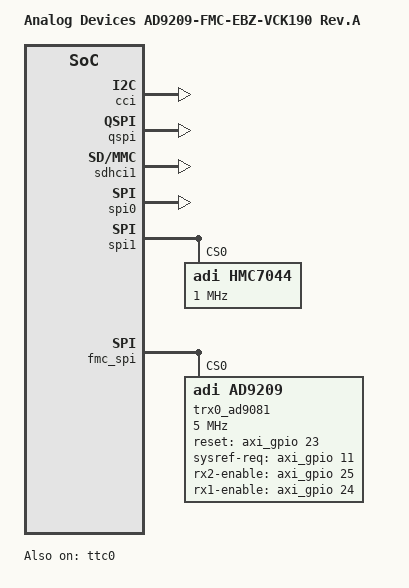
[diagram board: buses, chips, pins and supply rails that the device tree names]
// SPDX-License-Identifier: GPL-2.0
/*
 * Analog Devices AD9209-FMC-EBZ
 * https://wiki.analog.com/resources/tools-software/linux-drivers/iio-mxfe/ad9081
 * https://wiki.analog.com/resources/eval/user-guides/ad9081_fmca_ebz/ad9081_fmca_ebz_hdl
 *
 * hdl_project: <ad9209_fmca_ebz/vck190>
 * board_revision: <>
 *
 * Copyright (C) 2024 Analog Devices Inc.
 */

#include "versal-vck190-revA.dts"
#include <dt-bindings/interrupt-controller/irq.h>
#include <dt-bindings/iio/adc/adi,ad9081.h>
#include <dt-bindings/jesd204/adxcvr.h>
#include <dt-bindings/iio/frequency/hmc7044.h>

/* RX path */
#define AD9081_RX_LANERATE_KHZ	24750000
#define AD9081_RX_LINK_CLK	375000000

/ {
	model = "Analog Devices AD9209-FMC-EBZ-VCK190 Rev.A";

	chosen {
		bootargs = "console=ttyAMA0 earlycon=pl011,mmio32,0xFF000000,115200n8 clk_ignore_unused root=/dev/mmcblk0p2 rw rootfstype=ext4 rootwait";
		stdout-path = "serial0:115200";
	};

	fpga_axi: fpga-axi@0 {
		interrupt-parent = <&gic>;
		compatible = "simple-bus";
		#address-cells = <0x1>;
		#size-cells = <0x1>;
		ranges = <0 0 0 0xffffffff>;

		clocks {
			rx_fixed_linerate: clock@0 {
				#clock-cells = <0>;
				compatible = "fixed-clock";
				clock-frequency = <AD9081_RX_LANERATE_KHZ>;
				clock-output-names = "rx_lane_clk";
			};

			rx_fixed_link_clk: clock@2 {
				#clock-cells = <0>;
				compatible = "fixed-clock";
				clock-frequency = <AD9081_RX_LINK_CLK>;
				clock-output-names = "rx_link_clk";
			};
		};

		axi_gpio: gpio@a4000000 {
			#gpio-cells = <2>;
			#interrupt-cells = <2>;
			clock-names = "s_axi_aclk";
			clocks = <&versal_clk PMC_PL0_REF>;
			compatible = "xlnx,axi-gpio-2.0", "xlnx,xps-gpio-1.00.a";
			gpio-controller;
			interrupt-controller;
			interrupt-names = "ip2intc_irpt";
			interrupt-parent = <&gic>;
			interrupts = <0 84 4>;
			reg = <0xa4000000 0x1000>;
			xlnx,all-inputs = <0x0>;
			xlnx,all-inputs-2 = <0x0>;
			xlnx,all-outputs = <0x0>;
			xlnx,all-outputs-2 = <0x0>;
			xlnx,dout-default = <0x00000000>;
			xlnx,dout-default-2 = <0x00000000>;
			xlnx,gpio-width = <0x20>;
			xlnx,gpio2-width = <0x20>;
			xlnx,interrupt-present = <0x1>;
			xlnx,is-dual = <0x1>;
			xlnx,tri-default = <0xFFFFFFFF>;
			xlnx,tri-default-2 = <0xFFFFFFFF>;
		};

		rx_dma: dma-controller@bc420000 {
			compatible = "adi,axi-dmac-1.00.a";
			reg = <0xbc420000 0x10000>;
			#dma-cells = <1>;
			#clock-cells = <0>;
			interrupts = <0 97 IRQ_TYPE_LEVEL_HIGH>;
			clocks = <&versal_clk PMC_PL1_REF>;
		};

		axi_ad9081_core_rx: axi-ad9081-rx-hpc@a4a10000 {
			compatible = "adi,axi-ad9081-rx-1.0";
			reg = <0xa4a10000 0x8000>;
			dmas = <&rx_dma 0>;
			dma-names = "rx";
			spibus-connected = <&trx0_ad9081>;

			jesd204-device;
			#jesd204-cells = <2>;
			jesd204-inputs = <&axi_ad9081_rx_jesd 0 FRAMER_LINK0_RX>;
		};

		axi_ad9081_rx_jesd: axi-jesd204-rx@a4a90000 {
			compatible = "adi,axi-jesd204-rx-1.0";
			reg = <0xa4a90000 0x1000>;

			interrupts = <0 95 IRQ_TYPE_LEVEL_HIGH>;

			clocks = <&versal_clk PMC_PL0_REF>, <&hmc7044 10>, <&rx_fixed_link_clk>, <&rx_fixed_linerate>;
			clock-names = "s_axi_aclk", "device_clk", "link_clk", "lane_clk";

			#clock-cells = <0>;
			clock-output-names = "jesd_rx_lane_clk";

			jesd204-device;
			#jesd204-cells = <2>;
			jesd204-inputs = <&hmc7044 0 FRAMER_LINK0_RX>;

			reset-done-gpios = <&axi_gpio 32 0>;
			pll-datapath-reset-gpios = <&axi_gpio 36 0>;
			datapath-reset-gpios = <&axi_gpio 38 0>;
		};

		axi_sysid_0: axi-sysid-0@a5000000 {
			compatible = "adi,axi-sysid-1.00.a";
			reg = <0xa5000000 0x10000>;
		};
	};
};

&gic {
	num_cpus = <2>;
	num_interrupts = <96>;
};

&lpd_dma_chan0 {
	status = "okay";
};

&lpd_dma_chan1 {
	status = "okay";
};

&lpd_dma_chan2 {
	status = "okay";
};

&lpd_dma_chan3 {
	status = "okay";
};

&lpd_dma_chan4 {
	status = "okay";
};

&lpd_dma_chan5 {
	status = "okay";
};

&lpd_dma_chan6 {
	status = "okay";
};

&lpd_dma_chan7 {
	status = "okay";
};

&cci {
	status = "okay";
};

&smmu {
	status = "okay";
};

&i2c1 {
	status = "disabled";
};

&gpio1 {
	status = "okay";
};

&qspi {
	is-dual = <1>;
	num-cs = <1>;
	spi-rx-bus-width = <4>;
	spi-tx-bus-width = <4>;
	status = "okay";
};

&sdhci1 {
	clock-frequency = <199999985>;
	status = "okay";
};

&serial0 {
	cts-override ;
	device_type = "serial";
	port-number = <0>;
};

&spi0 {
	is-decoded-cs = <0>;
	num-cs = <3>;
	status = "okay";
};

&spi1 {
	is-decoded-cs = <0>;
	num-cs = <3>;
	status = "okay";
};

&ttc0 {
	status = "okay";
};

&ref {
	clock-frequency = <33333333>;
};

&gem0 {
	local-mac-address = [00 0a 35 ad 90 81];
};

&fpga_axi {
	axi_data_offload_rx: axi-data-offload-1@bc450000 {
		compatible = "adi,axi-data-offload-1.0.a";
		reg = <0xbc450000 0x10000>;
	};
};

#define fmc_spi spi0

&spi1 {
	status = "okay";

	hmc7044: hmc7044@0 {
		#address-cells = <1>;
		#size-cells = <0>;
		#clock-cells = <1>;
		compatible = "adi,hmc7044";
		reg = <0>;
		spi-max-frequency = <1000000>;

		jesd204-device;
		#jesd204-cells = <2>;
		jesd204-sysref-provider;

		adi,jesd204-max-sysref-frequency-hz = <2000000>; /* 2 MHz */

		/*
		 * There are different versions of the AD9081-FMCA-EBZ & AD9082-FMCA-EBZ
		 * VCXO = 122.880 MHz, XO = 122.880MHz (AD9081-FMC-EBZ & AD9082-FMC-EBZ)
		 * VCXO = 100.000 MHz, XO = 100.000MHz (AD9081-FMC-EBZ-A2 & AD9082-FMC-EBZ-A2)
		 * To determine which board is which, read the freqency printed on the VCXO
		 * or use the fru-dump utility:
		 * #fru-dump -b /sys/bus/i2c/devices/15-0050/eeprom
		 */

		//adi,pll1-clkin-frequencies = <122880000 30720000 0 0>;
		//adi,vcxo-frequency = <122880000>;

		adi,pll1-clkin-frequencies = <100000000 10000000 0 0>;
		adi,pll1-ref-prio-ctrl = <0xE1>; /* prefer CLKIN1 -> CLKIN0 -> CLKIN2 -> CLKIN3 */
		adi,pll1-ref-autorevert-enable;
		adi,vcxo-frequency = <100000000>;

		adi,pll1-loop-bandwidth-hz = <200>;
		adi,pll1-charge-pump-current-ua = <720>;
		adi,pfd1-maximum-limit-frequency-hz = <1000000>; /* 1 MHz */

		adi,pll2-output-frequency = <3000000000>;

		adi,sysref-timer-divider = <1024>;
		adi,pulse-generator-mode = <7>;

		adi,clkin0-buffer-mode  = <0x07>;
		adi,clkin1-buffer-mode  = <0x07>;
		adi,oscin-buffer-mode = <0x15>;

		adi,gpi-controls = <0x00 0x00 0x00 0x00>;
		adi,gpo-controls = <0x37 0x33 0x00 0x00>;

		clock-output-names =
		"hmc7044_out0", "hmc7044_out1", "hmc7044_out2",
		"hmc7044_out3", "hmc7044_out4", "hmc7044_out5",
		"hmc7044_out6", "hmc7044_out7", "hmc7044_out8",
		"hmc7044_out9", "hmc7044_out10", "hmc7044_out11",
		"hmc7044_out12", "hmc7044_out13";

		hmc7044_c0: channel@0 {
			reg = <0>;
			adi,extended-name = "CORE_CLK_RX";
			adi,divider = <8>;	// 375
			adi,driver-mode = <HMC7044_DRIVER_MODE_LVDS>;	// LVDS

		};

		hmc7044_c2: channel@2 {
			reg = <2>;
			adi,extended-name = "DEV_REFCLK";
			adi,divider = <8>;	// 375
			adi,driver-mode = <HMC7044_DRIVER_MODE_LVDS>;	// LVDS
		};

		hmc7044_c3: channel@3 {
			reg = <3>;
			adi,extended-name = "DEV_SYSREF";
			adi,divider = <768>;	// 3.90625
			adi,driver-mode = <HMC7044_DRIVER_MODE_LVDS>;	// LVDS
			adi,jesd204-sysref-chan;
		};

		hmc7044_c8: channel@8 {
			reg = <8>;
			adi,extended-name = "FPGA_REFCLK1";
			adi,divider = <8>;	// 375
			adi,driver-mode = <HMC7044_DRIVER_MODE_LVDS>;	// LVDS
		};

		hmc7044_c10: channel@10 {
			reg = <10>;
			adi,extended-name = "CORE_CLK_RX";
			adi,divider = <12>;	// 250 = LR/66*4/6
			adi,driver-mode = <HMC7044_DRIVER_MODE_LVDS>;	// LVDS
		};

		hmc7044_c12: channel@12 {
			reg = <12>;
			adi,extended-name = "FPGA_REFCLK";
			adi,divider = <8>;	// 375
			adi,driver-mode = <HMC7044_DRIVER_MODE_LVDS>;	// LVDS
		};

		hmc7044_c13: channel@13 {
			reg = <13>;
			adi,extended-name = "FPGA_SYSREF";
			adi,divider = <768>;	// 3.90625
			adi,driver-mode = <HMC7044_DRIVER_MODE_LVDS>;	// LVDS
			adi,jesd204-sysref-chan;
		};
	};
};

&fmc_spi {

	trx0_ad9081: ad9081@0 {
		#address-cells = <1>;
		#size-cells = <0>;
		compatible = "adi,ad9209";
		reg = <0>;
		spi-max-frequency = <5000000>;

		/* Clocks */
		clocks = <&hmc7044 2>;
		clock-names = "dev_clk";

		clock-output-names = "rx_sampl_clk";
		#clock-cells = <1>;

		reset-gpios = <&axi_gpio 23 0>;
		sysref-req-gpios = <&axi_gpio 11 0>;
		rx2-enable-gpios = <&axi_gpio 25 0>;
		rx1-enable-gpios = <&axi_gpio 24 0>;

		jesd204-device;
		#jesd204-cells = <2>;
		jesd204-top-device = <0>; /* This is the TOP device */
		jesd204-link-ids = <FRAMER_LINK0_RX>;

		jesd204-inputs =
		<&axi_ad9081_core_rx 0 FRAMER_LINK0_RX>;

		adi,tx-dacs {
			#size-cells = <0>;
			#address-cells = <1>;
			adi,dac-frequency-hz = /bits/ 64 <12000000000>;
		};

		adi,rx-adcs {
			#size-cells = <0>;
			#address-cells = <1>;
			adi,adc-frequency-hz = /bits/ 64 <4000000000>;

			adi,main-data-paths {
				#address-cells = <1>;
				#size-cells = <0>;

				ad9081_adc0: adc@0 {
					reg = <0>;
					adi,decimation = <1>;
					adi,nco-frequency-shift-hz =  /bits/ 64 <400000000>;
					adi,nco-mixer-mode = <AD9081_ADC_NCO_VIF>;
				};

				ad9081_adc1: adc@1 {
					reg = <1>;
					adi,decimation = <1>;
					adi,nco-frequency-shift-hz =  /bits/ 64 <(-400000000)>;
					adi,nco-mixer-mode = <AD9081_ADC_NCO_VIF>;
				};
			};

			adi,channelizer-paths {
				#address-cells = <1>;
				#size-cells = <0>;

				ad9081_rx_fddc_chan0: channel@0 {
					reg = <0>;
					adi,decimation = <1>;
					adi,gain = <2048>; /* 2048 * 10^(gain_dB/20) */
					adi,nco-frequency-shift-hz =  /bits/ 64 <0>;
				};

				ad9081_rx_fddc_chan1: channel@1 {
					reg = <1>;
					adi,decimation = <1>;
					adi,gain = <2048>; /* 2048 * 10^(gain_dB/20) */
					adi,nco-frequency-shift-hz =  /bits/ 64 <0>;
				};
			};

			adi,jesd-links {
				#size-cells = <0>;
				#address-cells = <1>;

				ad9081_rx_jesd_l0: link@0 {
					reg = <0>;
					adi,converter-select =
					<&ad9081_rx_fddc_chan0 FDDC_I>, <&ad9081_rx_fddc_chan0 FDDC_Q>,
					<&ad9081_rx_fddc_chan1 FDDC_I>, <&ad9081_rx_fddc_chan1 FDDC_Q>;

					adi,logical-lane-mapping = /bits/ 8 <2 0 7 6 5 4 3 1>;
					adi,link-mode = <27>;			/* JESD Quick Configuration Mode */
					adi,subclass = <1>;			/* JESD SUBCLASS 0,1,2 */
					adi,version = <2>;			/* JESD VERSION 0=204A,1=204B,2=204C */
					adi,dual-link = <0>;			/* JESD Dual Link Mode */
					adi,converters-per-device = <4>;	/* JESD M */
					adi,octets-per-frame = <3>;		/* JESD F */
					adi,frames-per-multiframe = <256>;	/* JESD K */
					adi,converter-resolution = <12>;	/* JESD N */
					adi,bits-per-sample = <12>;		/* JESD NP' */
					adi,control-bits-per-sample = <0>;	/* JESD CS */
					adi,lanes-per-device = <8>;		/* JESD L */
					adi,samples-per-converter-per-frame = <4>; /* JESD S */
					adi,high-density = <0>;			/* JESD HD */
				};
			};
		};

	};
};
